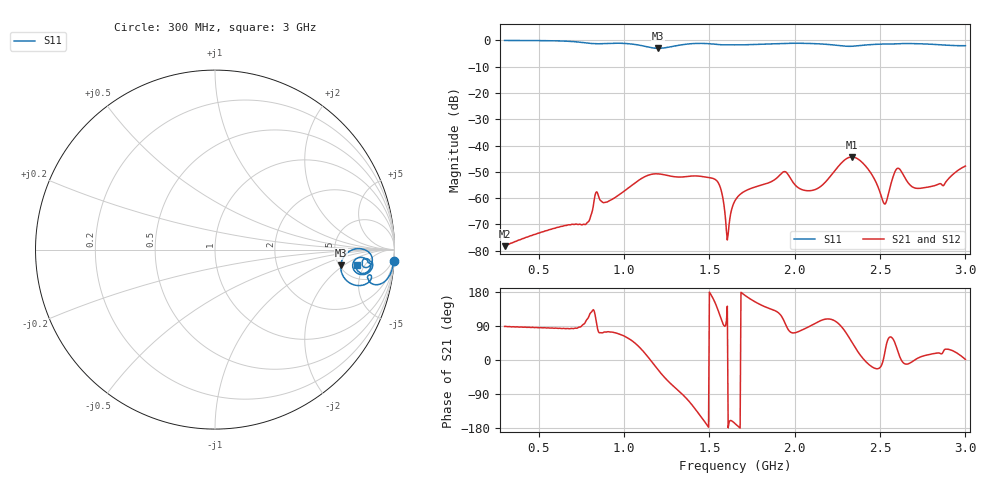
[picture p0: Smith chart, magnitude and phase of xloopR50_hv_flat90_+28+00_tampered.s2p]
! xloopR50_hv_flat90_+28+00_tampered, gap C 0.80 pF
! simulated by sim/fixtures_fdtd.py (S12 = S21, S22 not computed)
# HZ S RI R 50
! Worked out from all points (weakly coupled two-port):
!   541 points, 300 MHz to 3 GHz, reference 50 ohm
!   highest |S21| = -44.34 dB at 2.335 GHz (marker M1); lowest = -78.3 dB at 300 MHz (marker M2)
!   lowest |S11| = -3.0 dB at 1.2 GHz (marker M3), VSWR 5.81, Z = 259 - j89.5 ohm
!   |S11| at or under -10 dB: nowhere
!   |S22| runs from - to - dB; largest |S21 - S12| = 0
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3e8  0.9964 -0.061  3.1e-06 0.000122  3.1e-06 0.000122  0 0
7.5e8  0.8959 -0.1956  5.4e-06 0.00031  5.4e-06 0.00031  0 0
7.95e8  0.8626 -0.1812  -0.000164 0.000328  -0.000164 0.000328  0 0
8.4e8  0.8498 -0.1569  -7.64e-05 0.00131  -7.64e-05 0.00131  0 0
8.95e8  0.8652 -0.1412  0.000235 0.000803  0.000235 0.000803  0 0
1.2e9  0.7011 -0.0867  0.00259 -0.00128  0.00259 -0.00128  0 0
1.315e9  0.803 0.00541  0.000457 -0.00247  0.000457 -0.00247  0 0
1.535e9  0.8391 -0.1001  -0.00194 0.00115  -0.00194 0.00115  0 0
1.57e9  0.821 -0.0883  -0.000382 0.00131  -0.000382 0.00131  0 0
1.605e9  0.8215 -0.0768  -0.000125 9.82e-05  -0.000125 9.82e-05  0 0
1.65e9  0.8208 -0.0704  -0.000872 -0.000191  -0.000872 -0.000191  0 0
1.94e9  0.8677 -0.0655  -0.000571 0.00314  -0.000571 0.00314  0 0
2.02e9  0.8777 -0.0946  0.000419 0.00152  0.000419 0.00152  0 0
2.1e9  0.8641 -0.1206  -4.54e-05 0.00139  -4.54e-05 0.00139  0 0
2.335e9  0.7707 -0.0705  0.00414 0.00443  0.00414 0.00443  0 0
2.435e9  0.8269 -0.0453  0.0033 -0.000705  0.0033 -0.000705  0 0
2.525e9  0.851 -0.0644  0.000755 0.000176  0.000755 0.000176  0 0
2.55e9  0.8529 -0.07  0.000666 0.00104  0.000666 0.00104  0 0
2.605e9  0.8596 -0.0737  0.00344 0.00137  0.00344 0.00137  0 0
2.725e9  0.8568 -0.1165  0.00152 0.000152  0.00152 0.000152  0 0
2.87e9  0.8081 -0.1288  0.0016 0.000632  0.0016 0.000632  0 0
3e9  0.7898 -0.0838  0.00407 0.000121  0.00407 0.000121  0 0
